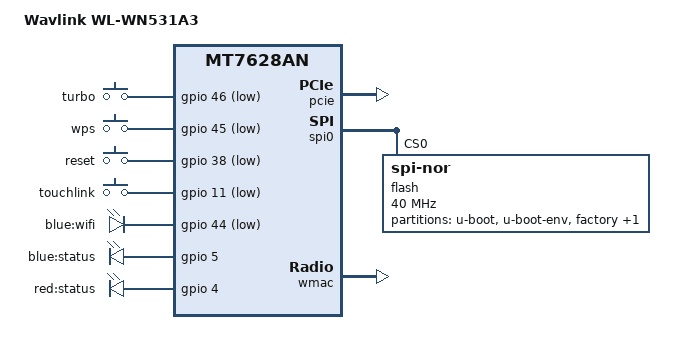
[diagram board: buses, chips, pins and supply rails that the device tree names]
#include "mt7628an.dtsi"

#include <dt-bindings/input/input.h>
#include <dt-bindings/gpio/gpio.h>

/ {
	compatible = "wavlink,wl-wn531a3", "mediatek,mt7628an-soc";
	model = "Wavlink WL-WN531A3";

	aliases {
		led-boot = &led_status_blue;
		led-failsafe = &led_status_red;
		led-running = &led_status_blue;
		led-upgrade = &led_status_red;
	};

	keys {
		compatible = "gpio-keys";

		turbo {
			label = "turbo";
			gpios = <&gpio 46 GPIO_ACTIVE_LOW>;
			linux,code = <BTN_1>;
		};

		wps {
			label = "wps";
			gpios = <&gpio 45 GPIO_ACTIVE_LOW>;
			linux,code = <KEY_WPS_BUTTON>;
		};

		reset {
			label = "reset";
			gpios = <&gpio 38 GPIO_ACTIVE_LOW>;
			linux,code = <KEY_RESTART>;
		};

		touchlink {
			label = "touchlink";
			gpios = <&gpio 11 GPIO_ACTIVE_LOW>;
			linux,code = <BTN_0>;
		};
	};

	leds {
		compatible = "gpio-leds";

		wifi {
			label = "blue:wifi";
			gpios = <&gpio 44 GPIO_ACTIVE_LOW>;
			linux,default-trigger = "phy0tpt";
		};

		led_status_blue: led_status_blue {
			label = "blue:status";
			gpios = <&gpio 5 GPIO_ACTIVE_HIGH>;
		};

		led_status_red: led_status_red {
			label = "red:status";
			gpios = <&gpio 4 GPIO_ACTIVE_HIGH>;
		};
	};
};

&state_default {
	gpio {
		groups = "i2c", "wled_an", "gpio", "wdt";
		function = "gpio";
	};
};

&pcie {
	status = "okay";
};

&pcie0 {
	mt76@0,0 {
		reg = <0x0000 0 0 0 0>;
		mediatek,mtd-eeprom = <&factory 0x8000>;
		ieee80211-freq-limit = <5000000 6000000>;
	};
};

&spi0 {
	status = "okay";

	flash@0 {
		compatible = "jedec,spi-nor";
		reg = <0>;
		spi-max-frequency = <40000000>;

		partitions {
			compatible = "fixed-partitions";
			#address-cells = <1>;
			#size-cells = <1>;

			partition@0 {
				label = "u-boot";
				reg = <0x0 0x30000>;
				read-only;
			};

			partition@30000 {
				label = "u-boot-env";
				reg = <0x30000 0x10000>;
				read-only;
			};

			factory: partition@40000 {
				label = "factory";
				reg = <0x40000 0x10000>;
				read-only;
			};

			partition@50000 {
				compatible = "denx,uimage";
				label = "firmware";
				reg = <0x50000 0x7b0000>;
			};
		};
	};
};

&wmac {
	status = "okay";

	mediatek,mtd-eeprom = <&factory 0x0>;
};

&ethernet {
	nvmem-cells = <&macaddr_factory_28>;
	nvmem-cell-names = "mac-address";
};

&esw {
	mediatek,portmap = <0x2f>;
};

&factory {
	compatible = "nvmem-cells";
	#address-cells = <1>;
	#size-cells = <1>;

	macaddr_factory_28: macaddr@28 {
		reg = <0x28 0x6>;
	};
};
